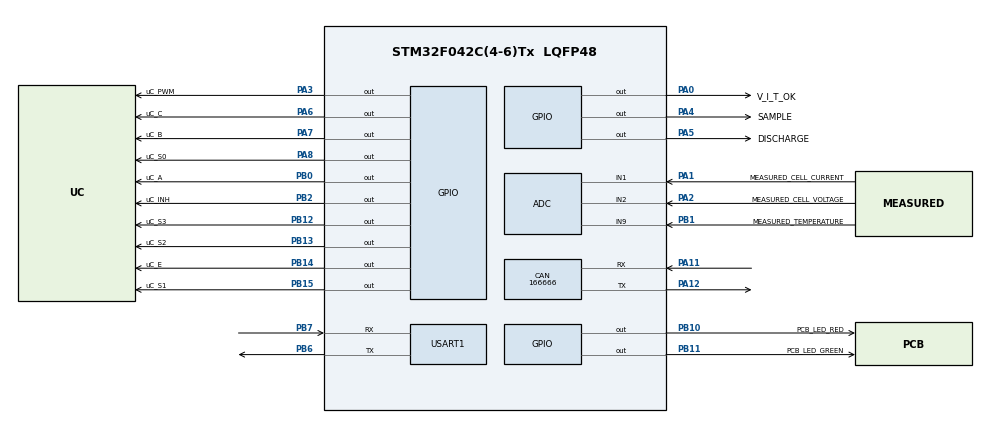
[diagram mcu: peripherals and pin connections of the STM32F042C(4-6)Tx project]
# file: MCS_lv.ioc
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ADC.ContinuousConvMode=ENABLE
ADC.DMAContinuousRequests=ENABLE
ADC.SamplingTime=ADC_SAMPLETIME_28CYCLES_5
CAN.CalculateBaudRate=166666
CAN.CalculateTimeBit=6000
CAN.CalculateTimeQuantum=2000.0
Dma.ADC.0.Direction=DMA_PERIPH_TO_MEMORY
Dma.ADC.0.Instance=DMA1_Channel1
Dma.ADC.0.MemDataAlignment=DMA_MDATAALIGN_WORD
Dma.ADC.0.MemInc=DMA_MINC_ENABLE
Dma.ADC.0.Mode=DMA_NORMAL
Dma.ADC.0.PeriphDataAlignment=DMA_PDATAALIGN_WORD
Dma.ADC.0.PeriphInc=DMA_PINC_DISABLE
Dma.ADC.0.Priority=DMA_PRIORITY_LOW
Dma.Request0=ADC
Mcu.Family=STM32F0
Mcu.Name=STM32F042C(4-6)Tx
Mcu.Package=LQFP48
NVIC.DMA1_Channel1_IRQn=true\:0\:0\:false\:false\:true\:false\:true\:true
PA0.GPIO_Label=V_I_T_OK
PA0.Signal=GPIO_Output
PA1.GPIO_Label=MEASURED_CELL_CURRENT
PA1.Mode=IN1
PA1.Signal=ADC_IN1
PA11.Mode=CAN_Activate
PA11.Signal=CAN_RX
PA12.Mode=CAN_Activate
PA12.Signal=CAN_TX
PA13.Mode=Serial_Wire
PA13.Signal=SYS_SWDIO
PA14.Mode=Serial_Wire
PA14.Signal=SYS_SWCLK
PA2.GPIO_Label=MEASURED_CELL_VOLTAGE
PA2.Mode=IN2
PA2.Signal=ADC_IN2
PA3.GPIO_Label=uC_PWM
PA3.Signal=GPIO_Output
PA4.GPIO_Label=SAMPLE
PA4.Signal=GPIO_Output
PA5.GPIO_Label=DISCHARGE
PA5.Signal=GPIO_Output
PA6.GPIO_Label=uC_C
PA6.Signal=GPIO_Output
PA7.GPIO_Label=uC_B
PA7.Signal=GPIO_Output
PA8.GPIO_Label=uC_S0
PA8.Signal=GPIO_Output
PB0.GPIO_Label=uC_A
PB0.Signal=GPIO_Output
PB1.GPIO_Label=MEASURED_TEMPERATURE
PB1.Mode=IN9
PB1.Signal=ADC_IN9
PB10.GPIO_Label=PCB_LED_RED
PB10.Signal=GPIO_Output
PB11.GPIO_Label=PCB_LED_GREEN
PB11.Signal=GPIO_Output
PB12.GPIO_Label=uC_S3
PB12.Signal=GPIO_Output
PB13.GPIO_Label=uC_S2
PB13.Signal=GPIO_Output
PB14.GPIO_Label=uC_E
PB14.Signal=GPIO_Output
PB15.GPIO_Label=uC_S1
PB15.Signal=GPIO_Output
PB2.GPIO_Label=uC_INH
PB2.Signal=GPIO_Output
PB6.Mode=Asynchronous
PB6.Signal=USART1_TX
PB7.Mode=Asynchronous
PB7.Signal=USART1_RX
PF0-OSC_IN.Mode=HSE-External-Oscillator
PF0-OSC_IN.Signal=RCC_OSC_IN
PF1-OSC_OUT.Mode=HSE-External-Oscillator
PF1-OSC_OUT.Signal=RCC_OSC_OUT
ProjectManager.HeapSize=0x200
ProjectManager.StackSize=0x400
ProjectManager.TargetToolchain=STM32CubeIDE
USART1.VirtualMode-Asynchronous=VM_ASYNC
board=custom

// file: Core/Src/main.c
/* USER CODE BEGIN Header */
/**
  ******************************************************************************
  * @file           : main.c
  * @brief          : Main program body
  ******************************************************************************
  * @attention
  *
  * Copyright (c) 2023 STMicroelectronics.
  * All rights reserved.
  *
  * This software is licensed under terms that can be found in the LICENSE file
  * in the root directory of this software component.
  * If no LICENSE file comes with this software, it is provided AS-IS.
  *
  ******************************************************************************
  */
/* USER CODE END Header */
#include "main.h"
#include "adc.h"
#include "can.h"
#include "dma.h"
#include "usart.h"
#include "gpio.h"

/* USER CODE BEGIN Includes */
#include "errors.h"
#include "init.h"
/* USER CODE END Includes */

void SystemClock_Config(void);

/* USER CODE BEGIN 0 */
#define SENS_RESISTOR 100U // It's an 10 mR resistor, but to calculate current we divide voltage by this value, so it's more convenient to multiply by 100 than divide by 10/1000
#define OPAMP_GAIN 20U
#define ADC_SUPPLY_VOLTAGE 3.3f
#define ADC_RANGE 4096U

// ADC buffer
uint32_t ADC_buffer[NUMBER_OF_USED_ADC_CHANNELS];

bool batteryPackState = ON;
uint8_t Read_MeasuredCurrent[2];
SetOfEntities voltages;
SetOfEntities temperatures;

void measureCurrent(void);
void measureEntities(MeasureSetup * setup);
void setMultiplexer(uint8_t cell, MultiplexerSetup multiplexer);
/* USER CODE END 0 */

int main(void)
{
  /* USER CODE BEGIN 1 */
	MultiplexerSetup voltageMultiplexer, temperatureMultiplexer;
	MeasureSetup voltageMeasure, temperatureMeasure;

	multiplexersInit(&voltageMultiplexer, &temperatureMultiplexer);
	measureEntitiesInit(&voltageMeasure, &temperatureMeasure, &voltages, &temperatures);

	voltageMeasure.multiplexer = voltageMultiplexer;
	temperatureMeasure.multiplexer = temperatureMultiplexer;

  /* USER CODE END 1 */

  /* MCU Configuration--------------------------------------------------------*/

  /* Reset of all peripherals, Initializes the Flash interface and the Systick. */
  HAL_Init();

  /* Configure the system clock */
  SystemClock_Config();

  /* Initialize all configured peripherals */
  MX_GPIO_Init();
  MX_DMA_Init();
  MX_ADC_Init();
  MX_USART1_UART_Init();
  MX_CAN_Init();

  /* Infinite loop */
  /* USER CODE BEGIN WHILE */
  while (1)
  {
	  measureCurrent();
	  measureEntities(&voltageMeasure);
	  measureEntities(&temperatureMeasure);

	  if(batteryPackState == ON) {
		  HAL_GPIO_WritePin(V_I_T_OK_GPIO_Port, V_I_T_OK_Pin, GPIO_PIN_RESET);
	  }else {
		  HAL_GPIO_WritePin(V_I_T_OK_GPIO_Port, V_I_T_OK_Pin, GPIO_PIN_SET);
	  }
    /* USER CODE END WHILE */

  }
}

void SystemClock_Config(void)
{
  RCC_OscInitTypeDef RCC_OscInitStruct = {0};
  RCC_ClkInitTypeDef RCC_ClkInitStruct = {0};
  RCC_PeriphCLKInitTypeDef PeriphClkInit = {0};

  /** Initializes the RCC Oscillators according to the specified parameters
  * in the RCC_OscInitTypeDef structure.
  */
  RCC_OscInitStruct.OscillatorType = RCC_OSCILLATORTYPE_HSI|RCC_OSCILLATORTYPE_HSI14;
  RCC_OscInitStruct.HSIState = RCC_HSI_ON;
  RCC_OscInitStruct.HSI14State = RCC_HSI14_ON;
  RCC_OscInitStruct.HSICalibrationValue = RCC_HSICALIBRATION_DEFAULT;
  RCC_OscInitStruct.HSI14CalibrationValue = 16;
  RCC_OscInitStruct.PLL.PLLState = RCC_PLL_NONE;
  if (HAL_RCC_OscConfig(&RCC_OscInitStruct) != HAL_OK)
  {
    Error_Handler();
  }

  /** Initializes the CPU, AHB and APB buses clocks
  */
  RCC_ClkInitStruct.ClockType = RCC_CLOCKTYPE_HCLK|RCC_CLOCKTYPE_SYSCLK
                              |RCC_CLOCKTYPE_PCLK1;
  RCC_ClkInitStruct.SYSCLKSource = RCC_SYSCLKSOURCE_HSI;
  RCC_ClkInitStruct.AHBCLKDivider = RCC_SYSCLK_DIV1;
  RCC_ClkInitStruct.APB1CLKDivider = RCC_HCLK_DIV1;

  if (HAL_RCC_ClockConfig(&RCC_ClkInitStruct, FLASH_LATENCY_0) != HAL_OK)
  {
    Error_Handler();
  }
  PeriphClkInit.PeriphClockSelection = RCC_PERIPHCLK_USART1;
  PeriphClkInit.Usart1ClockSelection = RCC_USART1CLKSOURCE_PCLK1;
  if (HAL_RCCEx_PeriphCLKConfig(&PeriphClkInit) != HAL_OK)
  {
    Error_Handler();
  }
}

/* USER CODE BEGIN 4 */

void measureCurrent(void) {
	uint32_t value = ADC_buffer[CURRENT_CHANNEL];

	uint32_t current = (ADC_SUPPLY_VOLTAGE * value * SENS_RESISTOR) / (ADC_RANGE * OPAMP_GAIN);

	Read_MeasuredCurrent[MOST_SIGNIFICANT_BYTE] = (current >> SHIFT_BYTE);
	Read_MeasuredCurrent[LESS_SIGNIFICANT_BYTE] = current;

	bool isOverLimit = current > CURRENT_MAX_VALUE;

	if(isOverLimit) OvercurrentError_Handler();
}

void measureEntities(MeasureSetup * setup) {
	HAL_GPIO_WritePin(setup->startPort, setup->startPin, GPIO_PIN_RESET);

	for(uint8_t measuredCell = setup->firstCellToMeasure; measuredCell <= setup->lastCellToMeasure; measuredCell++) {
		uint32_t value;

		setMultiplexer(measuredCell, setup->multiplexer);
		value = ADC_buffer[setup->ADC_Channel];

		// TODO: Calculate real voltage

		setup->entities->values[measuredCell].value[MOST_SIGNIFICANT_BYTE] = (value >> SHIFT_BYTE);
		setup->entities->values[measuredCell].value[LESS_SIGNIFICANT_BYTE] = value;

		bool isOverLimit = value > setup->maxValue;
		bool isUnderLimit = value < setup->minValue;

		if(isOverLimit) setup->overBoundaryError();
		if(isUnderLimit) setup->underBoundaryError();
	}
    // TODO: Pytanie, czy sprawdzać każde celle czy poza limitem czy tylko średnią?
	if(setup->multiplexer.type == VOLTAGE_MULTIPLEXER_TYPE) {
		// TODO: Measure avg voltage
	}

	HAL_GPIO_WritePin(setup->startPort, setup->startPin, GPIO_PIN_SET);
}

void setMultiplexer(uint8_t cell, MultiplexerSetup multiplexer) {
	if(cell & multiplexer.maskA) {
		HAL_GPIO_WritePin(multiplexer.portA, multiplexer.pinA, GPIO_PIN_SET);
	}else {
		HAL_GPIO_WritePin(multiplexer.portA, multiplexer.pinA, GPIO_PIN_SET);
	}

	if(cell & multiplexer.maskB) {
		HAL_GPIO_WritePin(multiplexer.portB, multiplexer.pinB, GPIO_PIN_SET);
	}else {
		HAL_GPIO_WritePin(multiplexer.portB, multiplexer.pinB, GPIO_PIN_SET);
	}

	if(cell & multiplexer.maskC) {
		HAL_GPIO_WritePin(multiplexer.portC, multiplexer.pinC, GPIO_PIN_SET);
	}else {
		HAL_GPIO_WritePin(multiplexer.portC, multiplexer.pinC, GPIO_PIN_SET);
	}

	if(multiplexer.type == TEMPERATURE_MULTIPLEXER_TYPE) {
		if(cell & multiplexer.maskD) {
			HAL_GPIO_WritePin(multiplexer.portD, multiplexer.pinD, GPIO_PIN_SET);
		}else {
			HAL_GPIO_WritePin(multiplexer.portD, multiplexer.pinD, GPIO_PIN_SET);
		}
	}else{
		HAL_Delay(TRANSISTORS_DELAY);
	}
}

/* USER CODE END 4 */

void Error_Handler(void)
{
  __disable_irq();
  while (1)
  {
  }
}
